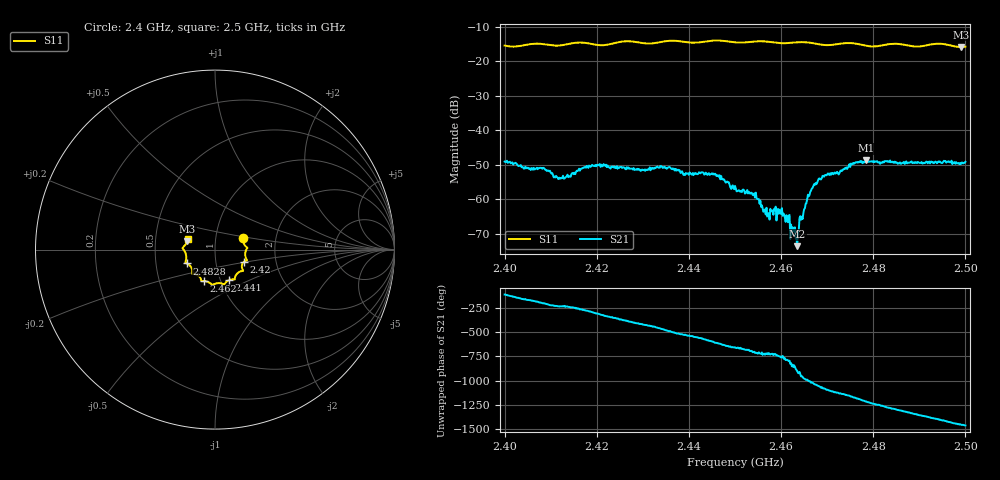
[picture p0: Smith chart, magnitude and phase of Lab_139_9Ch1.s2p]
# Hz S RI R 50
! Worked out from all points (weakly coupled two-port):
!   601 points, 2.4 GHz to 2.5 GHz, reference 50 ohm
!   highest |S21| = -48.76 dB at 2.4785 GHz (marker M1); lowest = -73.6 dB at 2.4635 GHz (marker M2)
!   lowest |S11| = -15.8 dB at 2.499 GHz (marker M3), VSWR 1.39, Z = 36.5 + j3.5 ohm
!   |S11| at or under -10 dB: start of sweep to end of sweep
!   S12 and S22 are empty: the file has one direction only
!   S11 on the Smith chart (normalised r, x): 2.4 GHz: 1.36, +0.18; 2.42 GHz: 1.36, -0.20; 2.441 GHz: 1.10, -0.39; 2.462 GHz: 0.84, -0.30; 2.4828 GHz: 0.72, -0.11; 2.5 GHz: 0.73, +0.09
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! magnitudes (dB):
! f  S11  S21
! 2.4 GHz  -15.4  -49.1
! 2.4082 GHz  -14.9  -51.2
! 2.412 GHz  -15.4  -54.0
! 2.4167 GHz  -14.5  -51.1
! 2.42 GHz  -15.2  -50.0
! 2.4333 GHz  -14.5  -50.8
! 2.441 GHz  -14.6  -53.0
! 2.4458 GHz  -13.9  -52.8
! 2.45 GHz  -14.5  -56.1
! 2.454 GHz  -14.3  -58.8
! 2.457 GHz  -14.3  -65.0
! 2.4602 GHz  -14.7  -62.6
! 2.462 GHz  -14.6  -71.6
! 2.463 GHz  -14.5  -68.2
! 2.4635 GHz  -14.4  -73.6
! 2.4667 GHz  -14.6  -56.9
! 2.4695 GHz  -15.3  -53.0
! 2.4785 GHz  -15.5  -48.8
! 2.4828 GHz  -15.1  -48.9
! 2.4833 GHz  -15.0  -49.1
! 2.499 GHz  -15.8  -49.8
! 2.5 GHz  -15.7  -49.2
